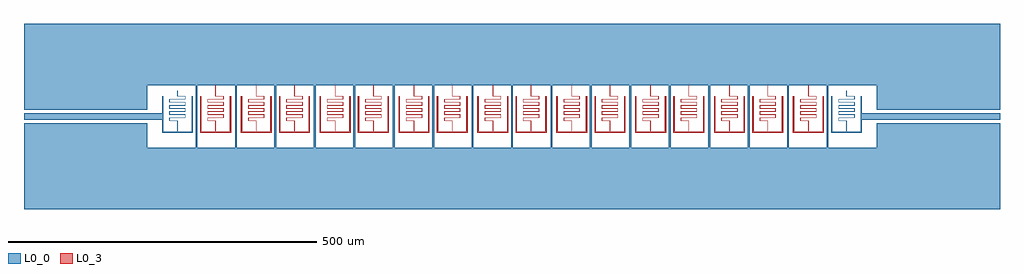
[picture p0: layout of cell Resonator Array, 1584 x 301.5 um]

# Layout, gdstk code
import gdstk
lib = gdstk.Library(unit=1e-6, precision=1e-09)
def P(c, l, *ps):  # polygons
    for p in ps: c.add(gdstk.Polygon(p, *l))
L0_0 = (0, 0)
L0_3 = (0, 3)

resonator_array = lib.new_cell('Resonator Array')
P(resonator_array, L0_0, [(1273,15.75),(1073,15.75),(1073,-24),(994.5,-24),(994.5,77.5),(1073,77.5),(1073,37.75),(1273,37.75),(1273,177.5),(-311,177.5),(-311,37.75),(-111,37.75),(-111,77.5),(-32.5,77.5),(-32.5,-24),(-29.5,-24),(-29.5,77.5),(31.5,77.5),(31.5,-24),(34.5,-24),(34.5,77.5),(95.5,77.5),(95.5,-24),(98.5,-24),(98.5,77.5),(159.5,77.5),(159.5,-24),(162.5,-24),(162.5,77.5),(223.5,77.5),(223.5,-24),(226.5,-24),(226.5,77.5),(287.5,77.5),(287.5,-24),(290.5,-24),(290.5,77.5),(351.5,77.5),(351.5,-24),(354.5,-24),(354.5,77.5),(415.5,77.5),(415.5,-24),(418.5,-24),(418.5,77.5),(479.5,77.5),(479.5,-24),(482.5,-24),(482.5,77.5),(543.5,77.5),(543.5,-24),(546.5,-24),(546.5,77.5),(607.5,77.5),(607.5,-24),(610.5,-24),(610.5,77.5),(671.5,77.5),(671.5,-24),(674.5,-24),(674.5,77.5),(735.5,77.5),(735.5,-24),(738.5,-24),(738.5,77.5),(799.5,77.5),(799.5,-24),(802.5,-24),(802.5,77.5),(863.5,77.5),(863.5,-24),(866.5,-24),(866.5,77.5),(927.5,77.5),(927.5,-24),(930.5,-24),(930.5,77.5),(991.5,77.5),(991.5,-24),(930.5,-24),(927.5,-24),(866.5,-24),(863.5,-24),(802.5,-24),(799.5,-24),(738.5,-24),(735.5,-24),(674.5,-24),(671.5,-24),(610.5,-24),(607.5,-24),(546.5,-24),(543.5,-24),(482.5,-24),(479.5,-24),(418.5,-24),(415.5,-24),(354.5,-24),(351.5,-24),(290.5,-24),(287.5,-24),(226.5,-24),(223.5,-24),(162.5,-24),(159.5,-24),(98.5,-24),(95.5,-24),(34.5,-24),(31.5,-24),(-29.5,-24),(-32.5,-24),(-111,-24),(-111,15.75),(-311,15.75),(-311,-124),(1273,-124)],
  [(-37,60),(-39,60),(-39,2),(-61.75,2),(-61.75,20),(-74.5,20),(-74.5,24.5),(-49,24.5),(-49,30),(-74.5,30),(-74.5,34.5),(-49,34.5),(-49,40),(-74.5,40),(-74.5,44.5),(-49,44.5),(-49,50),(-74.5,50),(-74.5,54.5),(-49,54.5),(-49,60),(-61.75,60),(-61.75,68.625),(-62.25,68.625),(-62.25,59.5),(-49.5,59.5),(-49.5,55),(-75,55),(-75,49.5),(-49.5,49.5),(-49.5,45),(-75,45),(-75,39.5),(-49.5,39.5),(-49.5,35),(-75,35),(-75,29.5),(-49.5,29.5),(-49.5,25),(-75,25),(-75,19.5),(-62.25,19.5),(-62.25,2),(-85,2),(-85,60),(-87,60),(-87,31.75),(-311,31.75),(-311,21.75),(-87,21.75),(-87,0),(-37,0)],
  [(1049,21.75),(1273,21.75),(1273,31.75),(1049,31.75),(1049,60),(1047,60),(1047,2),(1024.25,2),(1024.25,20),(1011.5,20),(1011.5,24.5),(1037,24.5),(1037,30),(1011.5,30),(1011.5,34.5),(1037,34.5),(1037,40),(1011.5,40),(1011.5,44.5),(1037,44.5),(1037,50),(1011.5,50),(1011.5,54.5),(1037,54.5),(1037,60),(1024.25,60),(1024.25,68.625),(1023.75,68.625),(1023.75,59.5),(1036.5,59.5),(1036.5,55),(1011,55),(1011,49.5),(1036.5,49.5),(1036.5,45),(1011,45),(1011,39.5),(1036.5,39.5),(1036.5,35),(1011,35),(1011,29.5),(1036.5,29.5),(1036.5,25),(1011,25),(1011,19.5),(1023.75,19.5),(1023.75,2),(1001,2),(1001,60),(999,60),(999,0),(1049,0)])
P(resonator_array, L0_3, [(-23,60),(-25,60),(-25,0),(25,0),(25,60),(23,60),(23,2),(-23,2)],
  [(-0.25,2),(0.25,2),(0.25,20),(-12.5,20),(-12.5,24.5),(0,24.5),(13,24.5),(13,30),(0,30),(-12.5,30),(-12.5,34.5),(0,34.5),(13,34.5),(13,40),(0,40),(-12.5,40),(-12.5,44.5),(0,44.5),(13,44.5),(13,50),(0,50),(-12.5,50),(-12.5,54.5),(0,54.5),(13,54.5),(13,60),(0.25,60),(0.25,77.5),(-0.25,77.5),(-0.25,59.5),(12.5,59.5),(12.5,55),(0,55),(-13,55),(-13,49.5),(0,49.5),(12.5,49.5),(12.5,45),(0,45),(-13,45),(-13,39.5),(0,39.5),(12.5,39.5),(12.5,35),(0,35),(-13,35),(-13,29.5),(0,29.5),(12.5,29.5),(12.5,25),(0,25),(-13,25),(-13,19.5),(-0.25,19.5)],
  [(43,60),(41,60),(41,0),(91,0),(91,60),(89,60),(89,2),(43,2)],
  [(65.75,2),(66.25,2),(66.25,20),(53.5,20),(53.5,24.5),(66,24.5),(79,24.5),(79,30),(66,30),(53.5,30),(53.5,34.5),(66,34.5),(79,34.5),(79,40),(66,40),(53.5,40),(53.5,44.5),(66,44.5),(79,44.5),(79,50),(66,50),(53.5,50),(53.5,54.5),(66,54.5),(79,54.5),(79,60),(66.25,60),(66.25,77.5),(65.75,77.5),(65.75,59.5),(78.5,59.5),(78.5,55),(66,55),(53,55),(53,49.5),(66,49.5),(78.5,49.5),(78.5,45),(66,45),(53,45),(53,39.5),(66,39.5),(78.5,39.5),(78.5,35),(66,35),(53,35),(53,29.5),(66,29.5),(78.5,29.5),(78.5,25),(66,25),(53,25),(53,19.5),(65.75,19.5)],
  [(105,60),(103,60),(103,0),(153,0),(153,60),(151,60),(151,2),(105,2)],
  [(127.75,2),(128.25,2),(128.25,20),(115.5,20),(115.5,24.5),(128,24.5),(141,24.5),(141,30),(128,30),(115.5,30),(115.5,34.5),(128,34.5),(141,34.5),(141,40),(128,40),(115.5,40),(115.5,44.5),(128,44.5),(141,44.5),(141,50),(128,50),(115.5,50),(115.5,54.5),(128,54.5),(141,54.5),(141,60),(128.25,60),(128.25,77.5),(127.75,77.5),(127.75,59.5),(140.5,59.5),(140.5,55),(128,55),(115,55),(115,49.5),(128,49.5),(140.5,49.5),(140.5,45),(128,45),(115,45),(115,39.5),(128,39.5),(140.5,39.5),(140.5,35),(128,35),(115,35),(115,29.5),(128,29.5),(140.5,29.5),(140.5,25),(128,25),(115,25),(115,19.5),(127.75,19.5)],
  [(171,60),(169,60),(169,0),(219,0),(219,60),(217,60),(217,2),(171,2)],
  [(193.75,2),(194.25,2),(194.25,20),(181.5,20),(181.5,24.5),(194,24.5),(207,24.5),(207,30),(194,30),(181.5,30),(181.5,34.5),(194,34.5),(207,34.5),(207,40),(194,40),(181.5,40),(181.5,44.5),(194,44.5),(207,44.5),(207,50),(194,50),(181.5,50),(181.5,54.5),(194,54.5),(207,54.5),(207,60),(194.25,60),(194.25,77.5),(193.75,77.5),(193.75,59.5),(206.5,59.5),(206.5,55),(194,55),(181,55),(181,49.5),(194,49.5),(206.5,49.5),(206.5,45),(194,45),(181,45),(181,39.5),(194,39.5),(206.5,39.5),(206.5,35),(194,35),(181,35),(181,29.5),(194,29.5),(206.5,29.5),(206.5,25),(194,25),(181,25),(181,19.5),(193.75,19.5)],
  [(233,60),(231,60),(231,0),(281,0),(281,60),(279,60),(279,2),(233,2)],
  [(255.75,2),(256.25,2),(256.25,20),(243.5,20),(243.5,24.5),(256,24.5),(269,24.5),(269,30),(256,30),(243.5,30),(243.5,34.5),(256,34.5),(269,34.5),(269,40),(256,40),(243.5,40),(243.5,44.5),(256,44.5),(269,44.5),(269,50),(256,50),(243.5,50),(243.5,54.5),(256,54.5),(269,54.5),(269,60),(256.25,60),(256.25,77.5),(255.75,77.5),(255.75,59.5),(268.5,59.5),(268.5,55),(256,55),(243,55),(243,49.5),(256,49.5),(268.5,49.5),(268.5,45),(256,45),(243,45),(243,39.5),(256,39.5),(268.5,39.5),(268.5,35),(256,35),(243,35),(243,29.5),(256,29.5),(268.5,29.5),(268.5,25),(256,25),(243,25),(243,19.5),(255.75,19.5)],
  [(299,60),(297,60),(297,0),(347,0),(347,60),(345,60),(345,2),(299,2)],
  [(321.75,2),(322.25,2),(322.25,20),(309.5,20),(309.5,24.5),(322,24.5),(335,24.5),(335,30),(322,30),(309.5,30),(309.5,34.5),(322,34.5),(335,34.5),(335,40),(322,40),(309.5,40),(309.5,44.5),(322,44.5),(335,44.5),(335,50),(322,50),(309.5,50),(309.5,54.5),(322,54.5),(335,54.5),(335,60),(322.25,60),(322.25,77.5),(321.75,77.5),(321.75,59.5),(334.5,59.5),(334.5,55),(322,55),(309,55),(309,49.5),(322,49.5),(334.5,49.5),(334.5,45),(322,45),(309,45),(309,39.5),(322,39.5),(334.5,39.5),(334.5,35),(322,35),(309,35),(309,29.5),(322,29.5),(334.5,29.5),(334.5,25),(322,25),(309,25),(309,19.5),(321.75,19.5)],
  [(361,60),(359,60),(359,0),(409,0),(409,60),(407,60),(407,2),(361,2)],
  [(383.75,2),(384.25,2),(384.25,20),(371.5,20),(371.5,24.5),(384,24.5),(397,24.5),(397,30),(384,30),(371.5,30),(371.5,34.5),(384,34.5),(397,34.5),(397,40),(384,40),(371.5,40),(371.5,44.5),(384,44.5),(397,44.5),(397,50),(384,50),(371.5,50),(371.5,54.5),(384,54.5),(397,54.5),(397,60),(384.25,60),(384.25,77.5),(383.75,77.5),(383.75,59.5),(396.5,59.5),(396.5,55),(384,55),(371,55),(371,49.5),(384,49.5),(396.5,49.5),(396.5,45),(384,45),(371,45),(371,39.5),(384,39.5),(396.5,39.5),(396.5,35),(384,35),(371,35),(371,29.5),(384,29.5),(396.5,29.5),(396.5,25),(384,25),(371,25),(371,19.5),(383.75,19.5)],
  [(427,60),(425,60),(425,0),(475,0),(475,60),(473,60),(473,2),(427,2)],
  [(449.75,2),(450.25,2),(450.25,20),(437.5,20),(437.5,24.5),(450,24.5),(463,24.5),(463,30),(450,30),(437.5,30),(437.5,34.5),(450,34.5),(463,34.5),(463,40),(450,40),(437.5,40),(437.5,44.5),(450,44.5),(463,44.5),(463,50),(450,50),(437.5,50),(437.5,54.5),(450,54.5),(463,54.5),(463,60),(450.25,60),(450.25,77.5),(449.75,77.5),(449.75,59.5),(462.5,59.5),(462.5,55),(450,55),(437,55),(437,49.5),(450,49.5),(462.5,49.5),(462.5,45),(450,45),(437,45),(437,39.5),(450,39.5),(462.5,39.5),(462.5,35),(450,35),(437,35),(437,29.5),(450,29.5),(462.5,29.5),(462.5,25),(450,25),(437,25),(437,19.5),(449.75,19.5)],
  [(489,60),(487,60),(487,0),(537,0),(537,60),(535,60),(535,2),(489,2)],
  [(511.75,2),(512.25,2),(512.25,20),(499.5,20),(499.5,24.5),(512,24.5),(525,24.5),(525,30),(512,30),(499.5,30),(499.5,34.5),(512,34.5),(525,34.5),(525,40),(512,40),(499.5,40),(499.5,44.5),(512,44.5),(525,44.5),(525,50),(512,50),(499.5,50),(499.5,54.5),(512,54.5),(525,54.5),(525,60),(512.25,60),(512.25,77.5),(511.75,77.5),(511.75,59.5),(524.5,59.5),(524.5,55),(512,55),(499,55),(499,49.5),(512,49.5),(524.5,49.5),(524.5,45),(512,45),(499,45),(499,39.5),(512,39.5),(524.5,39.5),(524.5,35),(512,35),(499,35),(499,29.5),(512,29.5),(524.5,29.5),(524.5,25),(512,25),(499,25),(499,19.5),(511.75,19.5)],
  [(555,60),(553,60),(553,0),(603,0),(603,60),(601,60),(601,2),(555,2)],
  [(577.75,2),(578.25,2),(578.25,20),(565.5,20),(565.5,24.5),(578,24.5),(591,24.5),(591,30),(578,30),(565.5,30),(565.5,34.5),(578,34.5),(591,34.5),(591,40),(578,40),(565.5,40),(565.5,44.5),(578,44.5),(591,44.5),(591,50),(578,50),(565.5,50),(565.5,54.5),(578,54.5),(591,54.5),(591,60),(578.25,60),(578.25,77.5),(577.75,77.5),(577.75,59.5),(590.5,59.5),(590.5,55),(578,55),(565,55),(565,49.5),(578,49.5),(590.5,49.5),(590.5,45),(578,45),(565,45),(565,39.5),(578,39.5),(590.5,39.5),(590.5,35),(578,35),(565,35),(565,29.5),(578,29.5),(590.5,29.5),(590.5,25),(578,25),(565,25),(565,19.5),(577.75,19.5)],
  [(617,60),(615,60),(615,0),(665,0),(665,60),(663,60),(663,2),(617,2)],
  [(639.75,2),(640.25,2),(640.25,20),(627.5,20),(627.5,24.5),(640,24.5),(653,24.5),(653,30),(640,30),(627.5,30),(627.5,34.5),(640,34.5),(653,34.5),(653,40),(640,40),(627.5,40),(627.5,44.5),(640,44.5),(653,44.5),(653,50),(640,50),(627.5,50),(627.5,54.5),(640,54.5),(653,54.5),(653,60),(640.25,60),(640.25,77.5),(639.75,77.5),(639.75,59.5),(652.5,59.5),(652.5,55),(640,55),(627,55),(627,49.5),(640,49.5),(652.5,49.5),(652.5,45),(640,45),(627,45),(627,39.5),(640,39.5),(652.5,39.5),(652.5,35),(640,35),(627,35),(627,29.5),(640,29.5),(652.5,29.5),(652.5,25),(640,25),(627,25),(627,19.5),(639.75,19.5)],
  [(683,60),(681,60),(681,0),(731,0),(731,60),(729,60),(729,2),(683,2)],
  [(705.75,2),(706.25,2),(706.25,20),(693.5,20),(693.5,24.5),(706,24.5),(719,24.5),(719,30),(706,30),(693.5,30),(693.5,34.5),(706,34.5),(719,34.5),(719,40),(706,40),(693.5,40),(693.5,44.5),(706,44.5),(719,44.5),(719,50),(706,50),(693.5,50),(693.5,54.5),(706,54.5),(719,54.5),(719,60),(706.25,60),(706.25,77.5),(705.75,77.5),(705.75,59.5),(718.5,59.5),(718.5,55),(706,55),(693,55),(693,49.5),(706,49.5),(718.5,49.5),(718.5,45),(706,45),(693,45),(693,39.5),(706,39.5),(718.5,39.5),(718.5,35),(706,35),(693,35),(693,29.5),(706,29.5),(718.5,29.5),(718.5,25),(706,25),(693,25),(693,19.5),(705.75,19.5)],
  [(745,60),(743,60),(743,0),(793,0),(793,60),(791,60),(791,2),(745,2)],
  [(767.75,2),(768.25,2),(768.25,20),(755.5,20),(755.5,24.5),(768,24.5),(781,24.5),(781,30),(768,30),(755.5,30),(755.5,34.5),(768,34.5),(781,34.5),(781,40),(768,40),(755.5,40),(755.5,44.5),(768,44.5),(781,44.5),(781,50),(768,50),(755.5,50),(755.5,54.5),(768,54.5),(781,54.5),(781,60),(768.25,60),(768.25,77.5),(767.75,77.5),(767.75,59.5),(780.5,59.5),(780.5,55),(768,55),(755,55),(755,49.5),(768,49.5),(780.5,49.5),(780.5,45),(768,45),(755,45),(755,39.5),(768,39.5),(780.5,39.5),(780.5,35),(768,35),(755,35),(755,29.5),(768,29.5),(780.5,29.5),(780.5,25),(768,25),(755,25),(755,19.5),(767.75,19.5)],
  [(811,60),(809,60),(809,0),(859,0),(859,60),(857,60),(857,2),(811,2)],
  [(833.75,2),(834.25,2),(834.25,20),(821.5,20),(821.5,24.5),(834,24.5),(847,24.5),(847,30),(834,30),(821.5,30),(821.5,34.5),(834,34.5),(847,34.5),(847,40),(834,40),(821.5,40),(821.5,44.5),(834,44.5),(847,44.5),(847,50),(834,50),(821.5,50),(821.5,54.5),(834,54.5),(847,54.5),(847,60),(834.25,60),(834.25,77.5),(833.75,77.5),(833.75,59.5),(846.5,59.5),(846.5,55),(834,55),(821,55),(821,49.5),(834,49.5),(846.5,49.5),(846.5,45),(834,45),(821,45),(821,39.5),(834,39.5),(846.5,39.5),(846.5,35),(834,35),(821,35),(821,29.5),(834,29.5),(846.5,29.5),(846.5,25),(834,25),(821,25),(821,19.5),(833.75,19.5)],
  [(873,60),(871,60),(871,0),(921,0),(921,60),(919,60),(919,2),(873,2)],
  [(895.75,2),(896.25,2),(896.25,20),(883.5,20),(883.5,24.5),(896,24.5),(909,24.5),(909,30),(896,30),(883.5,30),(883.5,34.5),(896,34.5),(909,34.5),(909,40),(896,40),(883.5,40),(883.5,44.5),(896,44.5),(909,44.5),(909,50),(896,50),(883.5,50),(883.5,54.5),(896,54.5),(909,54.5),(909,60),(896.25,60),(896.25,77.5),(895.75,77.5),(895.75,59.5),(908.5,59.5),(908.5,55),(896,55),(883,55),(883,49.5),(896,49.5),(908.5,49.5),(908.5,45),(896,45),(883,45),(883,39.5),(896,39.5),(908.5,39.5),(908.5,35),(896,35),(883,35),(883,29.5),(896,29.5),(908.5,29.5),(908.5,25),(896,25),(883,25),(883,19.5),(895.75,19.5)],
  [(939,60),(937,60),(937,0),(987,0),(987,60),(985,60),(985,2),(939,2)],
  [(961.75,2),(962.25,2),(962.25,20),(949.5,20),(949.5,24.5),(962,24.5),(975,24.5),(975,30),(962,30),(949.5,30),(949.5,34.5),(962,34.5),(975,34.5),(975,40),(962,40),(949.5,40),(949.5,44.5),(962,44.5),(975,44.5),(975,50),(962,50),(949.5,50),(949.5,54.5),(962,54.5),(975,54.5),(975,60),(962.25,60),(962.25,77.5),(961.75,77.5),(961.75,59.5),(974.5,59.5),(974.5,55),(962,55),(949,55),(949,49.5),(962,49.5),(974.5,49.5),(974.5,45),(962,45),(949,45),(949,39.5),(962,39.5),(974.5,39.5),(974.5,35),(962,35),(949,35),(949,29.5),(962,29.5),(974.5,29.5),(974.5,25),(962,25),(949,25),(949,19.5),(961.75,19.5)])

lib.write_gds('Resonator_Array.gds')
